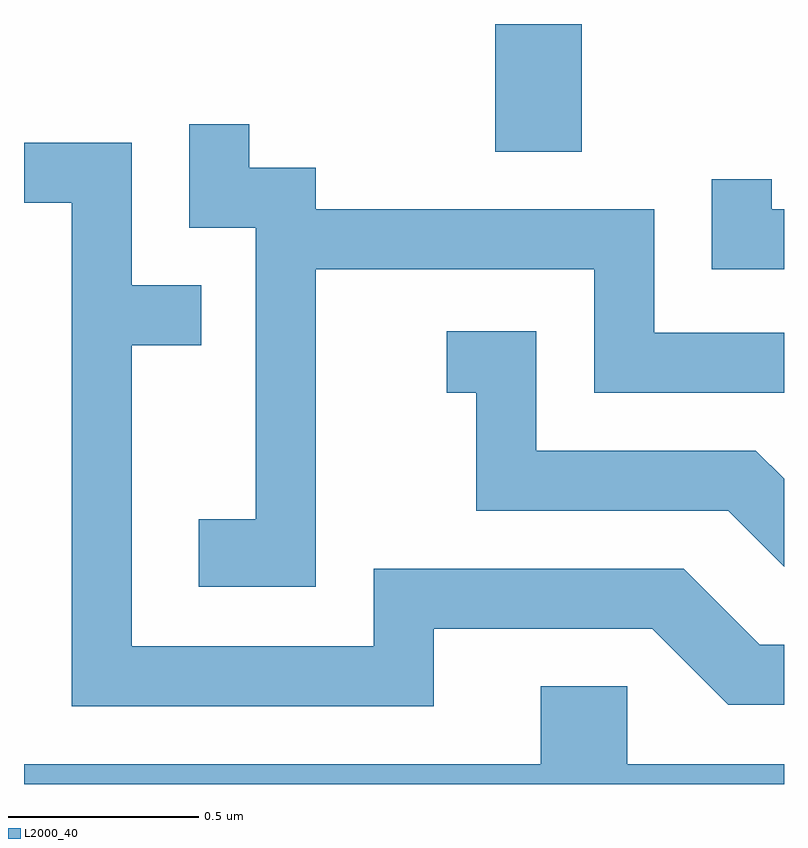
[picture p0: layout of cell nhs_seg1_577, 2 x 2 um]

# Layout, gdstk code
import gdstk
lib = gdstk.Library(unit=1e-6, precision=1e-09)
def R(c, l, rs):  # rectangles x0, y0, x1, y1
    for r in rs: c.add(gdstk.rectangle(r[:2], r[2:], *l))
def P(c, l, *ps):  # polygons
    for p in ps: c.add(gdstk.Polygon(p, *l))
L2000_40 = (2000, 40)

nhs_seg1_577 = lib.new_cell('nhs_seg1_577')
R(nhs_seg1_577, L2000_40, [(190.851,870.376,191.079,870.712)])
P(nhs_seg1_577, L2000_40, [(190.379,870.066),(191.111,870.066),(191.111,869.741),(191.611,869.741),(191.611,869.899),(191.269,869.899),(191.269,870.224),(190.379,870.224),(190.379,870.334),(190.204,870.334),(190.204,870.448),(190.046,870.448),(190.046,870.176),(190.221,870.176),(190.221,869.409),(190.071,869.409),(190.071,869.231),(190.379,869.231)],
  [(190.689,869.121),(191.264,869.121),(191.464,868.921),(191.611,868.921),(191.611,869.079),(191.547,869.079),(191.347,869.279),(190.531,869.279),(190.531,869.074),(189.894,869.074),(189.894,869.866),(190.078,869.866),(190.078,870.024),(189.894,870.024),(189.894,870.399),(189.611,870.399),(189.611,870.241),(189.736,870.241),(189.736,868.916),(190.689,868.916)],
  [(191.611,870.224),(191.579,870.224),(191.579,870.303),(191.421,870.303),(191.421,870.066),(191.611,870.066)],
  [(191.611,869.515),(191.537,869.589),(190.959,869.589),(190.959,869.904),(190.723,869.904),(190.723,869.741),(190.801,869.741),(190.801,869.431),(191.464,869.431),(191.611,869.284)],
  [(191.611,868.764),(191.199,868.764),(191.199,868.969),(190.971,868.969),(190.971,868.764),(189.611,868.764),(189.611,868.712),(191.611,868.712)])

lib.write_gds('nhs_seg1_577.gds')
